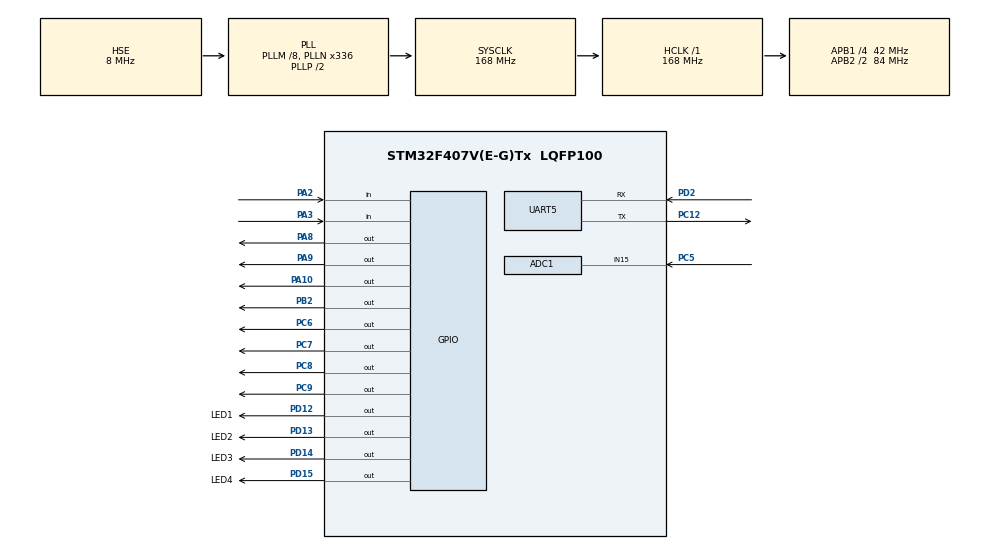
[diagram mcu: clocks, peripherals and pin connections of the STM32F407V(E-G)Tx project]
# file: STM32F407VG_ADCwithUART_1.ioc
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ADC1.Channel-0\#ChannelRegularConversion=ADC_CHANNEL_15
ADC1.ContinuousConvMode=ENABLE
ADC1.NbrOfConversionFlag=1
ADC1.Rank-0\#ChannelRegularConversion=1
ADC1.SamplingTime-0\#ChannelRegularConversion=ADC_SAMPLETIME_3CYCLES
ADC1.master=1
Mcu.Family=STM32F4
Mcu.Name=STM32F407V(E-G)Tx
Mcu.Package=LQFP100
NVIC.PriorityGroup=NVIC_PRIORITYGROUP_0
NVIC.TIM2_IRQn=true\:0\:0\:false\:false\:true\:true\:true\:true
PA10.Signal=GPIO_Output
PA13.Mode=Serial_Wire
PA13.Signal=SYS_JTMS-SWDIO
PA14.Mode=Serial_Wire
PA14.Signal=SYS_JTCK-SWCLK
PA2.Signal=GPIO_Input
PA3.Signal=GPIO_Input
PA8.Signal=GPIO_Output
PA9.Signal=GPIO_Output
PB2.Signal=GPIO_Output
PC12.Mode=Asynchronous
PC12.Signal=UART5_TX
PC5.Signal=ADCx_IN15
PC6.Signal=GPIO_Output
PC7.Signal=GPIO_Output
PC8.Signal=GPIO_Output
PC9.Signal=GPIO_Output
PD12.GPIO_Label=LED1
PD12.Signal=GPIO_Output
PD13.GPIO_Label=LED2
PD13.Signal=GPIO_Output
PD14.GPIO_Label=LED3
PD14.Signal=GPIO_Output
PD15.GPIO_Label=LED4
PD15.Signal=GPIO_Output
PD2.Mode=Asynchronous
PD2.Signal=UART5_RX
PH0-OSC_IN.Mode=HSE-External-Oscillator
PH0-OSC_IN.Signal=RCC_OSC_IN
PH1-OSC_OUT.Mode=HSE-External-Oscillator
PH1-OSC_OUT.Signal=RCC_OSC_OUT
ProjectManager.HeapSize=0x200
ProjectManager.StackSize=0x400
ProjectManager.TargetToolchain=STM32CubeIDE
RCC.48MHZClocksFreq_Value=48000000
RCC.AHBFreq_Value=168000000
RCC.APB1CLKDivider=RCC_HCLK_DIV4
RCC.APB1Freq_Value=42000000
RCC.APB1TimFreq_Value=84000000
RCC.APB2CLKDivider=RCC_HCLK_DIV2
RCC.APB2Freq_Value=84000000
RCC.APB2TimFreq_Value=168000000
RCC.CortexFreq_Value=168000000
RCC.HCLKFreq_Value=168000000
RCC.HSE_VALUE=8000000
RCC.HSI_VALUE=16000000
RCC.LSE_VALUE=32768
RCC.PLLM=8
RCC.PLLN=336
RCC.PLLQ=7
RCC.PLLSourceVirtual=RCC_PLLSOURCE_HSE
RCC.SYSCLKFreq_VALUE=168000000
RCC.SYSCLKSource=RCC_SYSCLKSOURCE_PLLCLK
RCC.VCOOutputFreq_Value=336000000
SH.ADCx_IN15.0=ADC1_IN15,IN15
TIM2.AutoReloadPreload=TIM_AUTORELOAD_PRELOAD_ENABLE
TIM2.Period=999
TIM2.Prescaler=83
UART5.VirtualMode=Asynchronous
VP_TIM2_VS_ClockSourceINT.Mode=Internal
board=STM32F407G-DISC1

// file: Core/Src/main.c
/* USER CODE BEGIN Header */
/**
  ******************************************************************************
  * @file           : main.c
  * @brief          : Main program body
  ******************************************************************************
  * @attention
  *
  * Copyright (c) 2023 STMicroelectronics.
  * All rights reserved.
  *
  * This software is licensed under terms that can be found in the LICENSE file
  * in the root directory of this software component.
  * If no LICENSE file comes with this software, it is provided AS-IS.
  *
  ******************************************************************************
  */
/* USER CODE END Header */
#include "main.h"

/* USER CODE BEGIN Includes */
#include "myLed.h"
#include "SevenSegmentDisplay.h"

/* USER CODE END Includes */

/* USER CODE BEGIN PM */

#define BUFFER_SIZE		        20
#define BUFFER_SIZE_MEDIAN		20

/* USER CODE END PM */

ADC_HandleTypeDef hadc1;

TIM_HandleTypeDef htim2;

UART_HandleTypeDef huart5;

/* USER CODE BEGIN PV */

// Ölçüm ve zamanlama değişkenleri
double time_count = 0;
uint16_t adc_value = 0;
uint16_t adc_value_old = 0;

// UART sayacı
int uart_count = 0;
int uart_count_1 = 0;

// Buffer ve indeks değişkenleri
int buffer_counter = 0;
int buffer_counter_median = 0;
int buffer_index = 0;
int buffer_index_median = 0;
uint16_t filter_buffer[BUFFER_SIZE];
uint16_t filter_buffer_median[BUFFER_SIZE_MEDIAN];

/* USER CODE END PV */

void SystemClock_Config(void);
static void MX_GPIO_Init(void);
static void MX_ADC1_Init(void);
static void MX_UART5_Init(void);
static void MX_TIM2_Init(void);

/* USER CODE BEGIN 0 */

uint16_t Read_ADC()
{
  	HAL_ADC_Start(&hadc1);
  	uint16_t temp;
// ADC dönüşümünü başlatır
  	if(HAL_ADC_PollForConversion(&hadc1, 100000 ) == HAL_OK)
  	{
// ADC tarafından ölçülen değeri alır
  		temp = HAL_ADC_GetValue(&hadc1);
  	}
// ADC'yi kapatır
  	HAL_ADC_Stop(&hadc1);
// Ölçüm sonucunu döndürür
  	return temp;
}

/* USER CODE END 0 */

int main(void)
{

  /* MCU Configuration--------------------------------------------------------*/

  /* Reset of all peripherals, Initializes the Flash interface and the Systick. */
  HAL_Init();

  /* Configure the system clock */
  SystemClock_Config();

  /* Initialize all configured peripherals */
  MX_GPIO_Init();
  MX_ADC1_Init();
  MX_UART5_Init();
  MX_TIM2_Init();
  /* USER CODE BEGIN 2 */

  HAL_TIM_Base_Start_IT(&htim2);

  /* USER CODE END 2 */

  /* Infinite loop */
  while (1)
  {

    /* USER CODE BEGIN 3 */
// LED'leri kontrol eden işlevi çağırır
	  ledHandle();
	  if ((time_count-buffer_counter_median) > 5){
// Ölçüm aralığını kontrol etmek için bir zaman karşılaştırması yapar
	 		  buffer_counter_median=time_count;
// ADC ölçümünü alır ve filtreleme tamponuna kaydeder
	 		  filter_buffer_median[buffer_index_median] =  Read_ADC();
	 		  buffer_index_median++;
	  }

	  if(buffer_index_median == BUFFER_SIZE_MEDIAN - 1){
// Median filtreleme işlemi yapmak için tampon dolmuş mu kontrol eder
		  buffer_index_median=0;

		  for (int i = 0; i < BUFFER_SIZE_MEDIAN - 1; i++) {
		      for (int j = i + 1; j < BUFFER_SIZE_MEDIAN; j++) {
		          if (filter_buffer_median[i] > filter_buffer_median[j]) {
// Median filtreleme işlemi için değişkenleri sıralar
		              uint16_t temp = filter_buffer_median[i];
		              filter_buffer_median[i] = filter_buffer_median[j];
		              filter_buffer_median[j] = temp;
		          }
		      }
		  }
// Median filtreleme sonucunu hesaplar ve tampona kaydeder
		  buffer_counter_median = (filter_buffer_median[BUFFER_SIZE_MEDIAN / 2 - 1] + filter_buffer_median[BUFFER_SIZE_MEDIAN / 2]) / 2;
		  filter_buffer[buffer_index] =  buffer_counter_median;
		  buffer_index++;

	  if(buffer_index == BUFFER_SIZE - 1){
// Daha fazla veri biriktiğinde ADC değerini hesaplar
		  buffer_index = 0;
		  double sum=0;
		  for(int i=0; i < BUFFER_SIZE; i++)
			  sum = sum + filter_buffer[i];
		 adc_value= sum/BUFFER_SIZE;
		 setLedPeriyot(&led_1, adc_value);// LED'in yanma periyodunu ayarlar
	  }
  }

	     if( adc_value != adc_value_old ) {
// Önceki ADC değeri ile yeni ölçülen değeri karşılaştırır
		  adc_value_old = adc_value;

		  uint8_t veri[512] = {0};
// İletiyi başlık ve ayracı ekleyerek oluşturur
		  sprintf((char *)veri,"********************************\n\n\r  ");
		  HAL_UART_Transmit(&huart5, veri, (uint16_t)strlen(veri),1000);
// LED periyotlarını ve potansiyometre değerini iletiye ekler
		  memset(veri,0,512);
		  sprintf((char *)veri,"Led_1 period:%d ms  \n  ", (int)(led_1.period));
		  HAL_UART_Transmit(&huart5, veri, (uint16_t)strlen(veri),1000);

		  memset(veri,0,512);
		  sprintf((char *)veri,"Led_2 period:%d  ms \n  ", (int)(led_2.period));
		  HAL_UART_Transmit(&huart5, veri, (uint16_t)strlen(veri),1000);

		  memset(veri,0,512);
		  sprintf((char *)veri,"Led_3 period:%d ms  \n  ", (int)(led_3.period));
		  HAL_UART_Transmit(&huart5, veri, (uint16_t)strlen(veri),1000);

		  memset(veri,0,512);
		  sprintf((char *)veri,"Led_4 period:%d ms  \n  ", (int)(led_4.period));
		  HAL_UART_Transmit(&huart5, veri, (uint16_t)strlen(veri),1000);

		  memset(veri,0,512);
		  sprintf((char *)veri,"Potansiyometer Values:%d  \n  ",adc_value);
		  HAL_UART_Transmit(&huart5, veri, (uint16_t)strlen(veri),1000);
	}
	     pinset();

  }

  /* USER CODE END 3 */
}

void SystemClock_Config(void)
{
  RCC_OscInitTypeDef RCC_OscInitStruct = {0};
  RCC_ClkInitTypeDef RCC_ClkInitStruct = {0};

  /** Configure the main internal regulator output voltage
  */
  __HAL_RCC_PWR_CLK_ENABLE();
  __HAL_PWR_VOLTAGESCALING_CONFIG(PWR_REGULATOR_VOLTAGE_SCALE1);

  /** Initializes the RCC Oscillators according to the specified parameters
  * in the RCC_OscInitTypeDef structure.
  */
  RCC_OscInitStruct.OscillatorType = RCC_OSCILLATORTYPE_HSE;
  RCC_OscInitStruct.HSEState = RCC_HSE_ON;
  RCC_OscInitStruct.PLL.PLLState = RCC_PLL_ON;
  RCC_OscInitStruct.PLL.PLLSource = RCC_PLLSOURCE_HSE;
  RCC_OscInitStruct.PLL.PLLM = 8;
  RCC_OscInitStruct.PLL.PLLN = 336;
  RCC_OscInitStruct.PLL.PLLP = RCC_PLLP_DIV2;
  RCC_OscInitStruct.PLL.PLLQ = 7;
  if (HAL_RCC_OscConfig(&RCC_OscInitStruct) != HAL_OK)
  {
    Error_Handler();
  }

  /** Initializes the CPU, AHB and APB buses clocks
  */
  RCC_ClkInitStruct.ClockType = RCC_CLOCKTYPE_HCLK|RCC_CLOCKTYPE_SYSCLK
                              |RCC_CLOCKTYPE_PCLK1|RCC_CLOCKTYPE_PCLK2;
  RCC_ClkInitStruct.SYSCLKSource = RCC_SYSCLKSOURCE_PLLCLK;
  RCC_ClkInitStruct.AHBCLKDivider = RCC_SYSCLK_DIV1;
  RCC_ClkInitStruct.APB1CLKDivider = RCC_HCLK_DIV4;
  RCC_ClkInitStruct.APB2CLKDivider = RCC_HCLK_DIV2;

  if (HAL_RCC_ClockConfig(&RCC_ClkInitStruct, FLASH_LATENCY_5) != HAL_OK)
  {
    Error_Handler();
  }
}

static void MX_ADC1_Init(void)
{

  ADC_ChannelConfTypeDef sConfig = {0};

  /** Configure the global features of the ADC (Clock, Resolution, Data Alignment and number of conversion)
  */
  hadc1.Instance = ADC1;
  hadc1.Init.ClockPrescaler = ADC_CLOCK_SYNC_PCLK_DIV4;
  hadc1.Init.Resolution = ADC_RESOLUTION_12B;
  hadc1.Init.ScanConvMode = DISABLE;
  hadc1.Init.ContinuousConvMode = ENABLE;
  hadc1.Init.DiscontinuousConvMode = DISABLE;
  hadc1.Init.ExternalTrigConvEdge = ADC_EXTERNALTRIGCONVEDGE_NONE;
  hadc1.Init.ExternalTrigConv = ADC_SOFTWARE_START;
  hadc1.Init.DataAlign = ADC_DATAALIGN_RIGHT;
  hadc1.Init.NbrOfConversion = 1;
  hadc1.Init.DMAContinuousRequests = DISABLE;
  hadc1.Init.EOCSelection = ADC_EOC_SINGLE_CONV;
  if (HAL_ADC_Init(&hadc1) != HAL_OK)
  {
    Error_Handler();
  }

  /** Configure for the selected ADC regular channel its corresponding rank in the sequencer and its sample time.
  */
  sConfig.Channel = ADC_CHANNEL_15;
  sConfig.Rank = 1;
  sConfig.SamplingTime = ADC_SAMPLETIME_3CYCLES;
  if (HAL_ADC_ConfigChannel(&hadc1, &sConfig) != HAL_OK)
  {
    Error_Handler();
  }

}

static void MX_TIM2_Init(void)
{

  TIM_ClockConfigTypeDef sClockSourceConfig = {0};
  TIM_MasterConfigTypeDef sMasterConfig = {0};

  htim2.Instance = TIM2;
  htim2.Init.Prescaler = 83;
  htim2.Init.CounterMode = TIM_COUNTERMODE_UP;
  htim2.Init.Period = 999;
  htim2.Init.ClockDivision = TIM_CLOCKDIVISION_DIV1;
  htim2.Init.AutoReloadPreload = TIM_AUTORELOAD_PRELOAD_ENABLE;
  if (HAL_TIM_Base_Init(&htim2) != HAL_OK)
  {
    Error_Handler();
  }
  sClockSourceConfig.ClockSource = TIM_CLOCKSOURCE_INTERNAL;
  if (HAL_TIM_ConfigClockSource(&htim2, &sClockSourceConfig) != HAL_OK)
  {
    Error_Handler();
  }
  sMasterConfig.MasterOutputTrigger = TIM_TRGO_RESET;
  sMasterConfig.MasterSlaveMode = TIM_MASTERSLAVEMODE_DISABLE;
  if (HAL_TIMEx_MasterConfigSynchronization(&htim2, &sMasterConfig) != HAL_OK)
  {
    Error_Handler();
  }

}

static void MX_UART5_Init(void)
{

  huart5.Instance = UART5;
  huart5.Init.BaudRate = 115200;
  huart5.Init.WordLength = UART_WORDLENGTH_8B;
  huart5.Init.StopBits = UART_STOPBITS_1;
  huart5.Init.Parity = UART_PARITY_NONE;
  huart5.Init.Mode = UART_MODE_TX_RX;
  huart5.Init.HwFlowCtl = UART_HWCONTROL_NONE;
  huart5.Init.OverSampling = UART_OVERSAMPLING_16;
  if (HAL_UART_Init(&huart5) != HAL_OK)
  {
    Error_Handler();
  }

}

static void MX_GPIO_Init(void)
{
  GPIO_InitTypeDef GPIO_InitStruct = {0};

  /* GPIO Ports Clock Enable */
  __HAL_RCC_GPIOH_CLK_ENABLE();
  __HAL_RCC_GPIOA_CLK_ENABLE();
  __HAL_RCC_GPIOC_CLK_ENABLE();
  __HAL_RCC_GPIOB_CLK_ENABLE();
  __HAL_RCC_GPIOD_CLK_ENABLE();

  /*Configure GPIO pin Output Level */
  HAL_GPIO_WritePin(GPIOB, GPIO_PIN_2, GPIO_PIN_RESET);

  /*Configure GPIO pin Output Level */
  HAL_GPIO_WritePin(GPIOD, LED1_Pin|LED2_Pin|LED3_Pin|LED4_Pin, GPIO_PIN_RESET);

  /*Configure GPIO pin Output Level */
  HAL_GPIO_WritePin(GPIOC, GPIO_PIN_6|GPIO_PIN_7|GPIO_PIN_8|GPIO_PIN_9, GPIO_PIN_RESET);

  /*Configure GPIO pin Output Level */
  HAL_GPIO_WritePin(GPIOA, GPIO_PIN_8|GPIO_PIN_9|GPIO_PIN_10, GPIO_PIN_RESET);

  /*Configure GPIO pins : PA2 PA3 */
  GPIO_InitStruct.Pin = GPIO_PIN_2|GPIO_PIN_3;
  GPIO_InitStruct.Mode = GPIO_MODE_INPUT;
  GPIO_InitStruct.Pull = GPIO_NOPULL;
  HAL_GPIO_Init(GPIOA, &GPIO_InitStruct);

  /*Configure GPIO pin : PB2 */
  GPIO_InitStruct.Pin = GPIO_PIN_2;
  GPIO_InitStruct.Mode = GPIO_MODE_OUTPUT_PP;
  GPIO_InitStruct.Pull = GPIO_NOPULL;
  GPIO_InitStruct.Speed = GPIO_SPEED_FREQ_LOW;
  HAL_GPIO_Init(GPIOB, &GPIO_InitStruct);

  /*Configure GPIO pins : LED1_Pin LED2_Pin LED3_Pin LED4_Pin */
  GPIO_InitStruct.Pin = LED1_Pin|LED2_Pin|LED3_Pin|LED4_Pin;
  GPIO_InitStruct.Mode = GPIO_MODE_OUTPUT_PP;
  GPIO_InitStruct.Pull = GPIO_NOPULL;
  GPIO_InitStruct.Speed = GPIO_SPEED_FREQ_LOW;
  HAL_GPIO_Init(GPIOD, &GPIO_InitStruct);

  /*Configure GPIO pins : PC6 PC7 PC8 PC9 */
  GPIO_InitStruct.Pin = GPIO_PIN_6|GPIO_PIN_7|GPIO_PIN_8|GPIO_PIN_9;
  GPIO_InitStruct.Mode = GPIO_MODE_OUTPUT_PP;
  GPIO_InitStruct.Pull = GPIO_NOPULL;
  GPIO_InitStruct.Speed = GPIO_SPEED_FREQ_LOW;
  HAL_GPIO_Init(GPIOC, &GPIO_InitStruct);

  /*Configure GPIO pins : PA8 PA9 PA10 */
  GPIO_InitStruct.Pin = GPIO_PIN_8|GPIO_PIN_9|GPIO_PIN_10;
  GPIO_InitStruct.Mode = GPIO_MODE_OUTPUT_PP;
  GPIO_InitStruct.Pull = GPIO_NOPULL;
  GPIO_InitStruct.Speed = GPIO_SPEED_FREQ_LOW;
  HAL_GPIO_Init(GPIOA, &GPIO_InitStruct);

}

void Error_Handler(void)
{
  __disable_irq();
  while (1)
  {
  }
}
